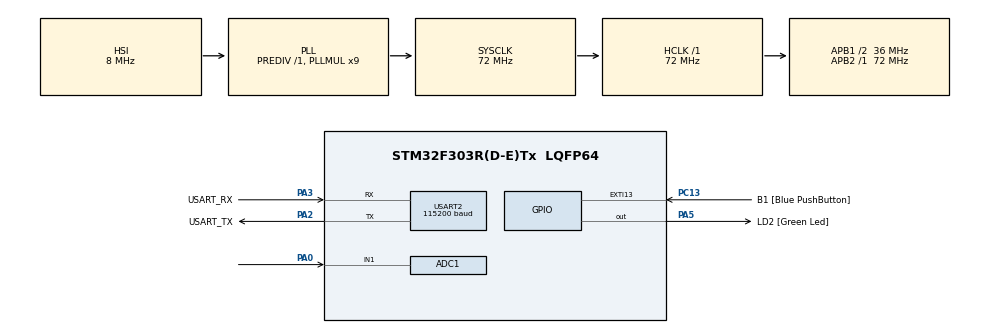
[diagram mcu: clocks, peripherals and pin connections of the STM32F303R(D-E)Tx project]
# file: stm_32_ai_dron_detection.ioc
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ADC1.Channel-0\#ChannelRegularConversion=ADC_CHANNEL_1
ADC1.ExternalTrigConv=ADC_EXTERNALTRIGCONV_T3_TRGO
ADC1.NbrOfConversionFlag=1
ADC1.Offset-0\#ChannelRegularConversion=0
ADC1.OffsetNumber-0\#ChannelRegularConversion=ADC_OFFSET_NONE
ADC1.Rank-0\#ChannelRegularConversion=1
ADC1.SamplingTime-0\#ChannelRegularConversion=ADC_SAMPLETIME_1CYCLE_5
ADC1.master=1
Dma.ADC1.0.Direction=DMA_PERIPH_TO_MEMORY
Dma.ADC1.0.Instance=DMA1_Channel1
Dma.ADC1.0.MemDataAlignment=DMA_MDATAALIGN_HALFWORD
Dma.ADC1.0.MemInc=DMA_MINC_ENABLE
Dma.ADC1.0.Mode=DMA_CIRCULAR
Dma.ADC1.0.PeriphDataAlignment=DMA_PDATAALIGN_HALFWORD
Dma.ADC1.0.PeriphInc=DMA_PINC_DISABLE
Dma.ADC1.0.Priority=DMA_PRIORITY_LOW
Dma.Request0=ADC1
Mcu.Family=STM32F3
Mcu.Name=STM32F303R(D-E)Tx
Mcu.Package=LQFP64
NVIC.DMA1_Channel1_IRQn=true\:0\:0\:false\:false\:true\:false\:true\:true
NVIC.PriorityGroup=NVIC_PRIORITYGROUP_0
PA0.Mode=IN1-Single-Ended
PA0.Signal=ADC1_IN1
PA13.GPIO_Label=TMS
PA13.Mode=Serial_Wire
PA13.Signal=SYS_JTMS-SWDIO
PA14.GPIO_Label=TCK
PA14.Mode=Serial_Wire
PA14.Signal=SYS_JTCK-SWCLK
PA2.GPIO_Label=USART_TX
PA2.GPIO_Mode=GPIO_MODE_AF_PP
PA2.GPIO_PuPd=GPIO_NOPULL
PA2.GPIO_Speed=GPIO_SPEED_FREQ_LOW
PA2.Mode=Asynchronous
PA2.Signal=USART2_TX
PA3.GPIO_Label=USART_RX
PA3.GPIO_Mode=GPIO_MODE_AF_PP
PA3.GPIO_PuPd=GPIO_NOPULL
PA3.GPIO_Speed=GPIO_SPEED_FREQ_LOW
PA3.Mode=Asynchronous
PA3.Signal=USART2_RX
PA5.GPIO_Label=LD2 [Green Led]
PA5.GPIO_Mode=GPIO_MODE_OUTPUT_PP
PA5.GPIO_PuPd=GPIO_NOPULL
PA5.GPIO_Speed=GPIO_SPEED_FREQ_LOW
PA5.Signal=GPIO_Output
PB3.GPIO_Label=SWO
PB3.Signal=SYS_JTDO-TRACESWO
PC13.GPIO_Label=B1 [Blue PushButton]
PC13.GPIO_ModeDefaultEXTI=GPIO_MODE_IT_FALLING
PC13.Signal=GPXTI13
PC14-OSC32_IN.Mode=LSE-External-Oscillator
PC14-OSC32_IN.Signal=RCC_OSC32_IN
PC15-OSC32_OUT.Mode=LSE-External-Oscillator
PC15-OSC32_OUT.Signal=RCC_OSC32_OUT
PF0-OSC_IN.Mode=HSE-External-Clock-Source
PF0-OSC_IN.Signal=RCC_OSC_IN
PF1-OSC_OUT.Signal=RCC_OSC_OUT
ProjectManager.HeapSize=0x200
ProjectManager.StackSize=0x400
ProjectManager.TargetToolchain=STM32CubeIDE
RCC.AHBFreq_Value=72000000
RCC.APB1CLKDivider=RCC_HCLK_DIV2
RCC.APB1Freq_Value=36000000
RCC.APB1TimFreq_Value=72000000
RCC.APB2Freq_Value=72000000
RCC.APB2TimFreq_Value=72000000
RCC.CortexFreq_Value=72000000
RCC.HCLKFreq_Value=72000000
RCC.HSE_VALUE=8000000
RCC.HSI_VALUE=8000000
RCC.PLLM=8
RCC.PLLMUL=RCC_PLL_MUL9
RCC.PLLN=336
RCC.PLLP=RCC_PLLP_DIV4
RCC.PLLQ=7
RCC.RCC_PLLsource_Clock_Source_FROM_HSE=RCC_HSE_PREDIV_DIV2
RCC.SYSCLKFreq_VALUE=72000000
RCC.SYSCLKSourceVirtual=RCC_SYSCLKSOURCE_PLLCLK
RCC.USBFreq_Value=72000000
STMicroelectronics.X-CUBE-AI.10.2.0.ActivationBufferSizeList=6288
STMicroelectronics.X-CUBE-AI.10.2.0.ActivationBuffers=pool0
STMicroelectronics.X-CUBE-AI.10.2.0.ActivationNames=pool0
STMicroelectronics.X-CUBE-AI.10.2.0.ActivationSizes=AI_NETWORK_DATA_ACTIVATION_1_SIZE
STMicroelectronics.X-CUBE-AI.10.2.0.HeapSize=0x800
STMicroelectronics.X-CUBE-AI.10.2.0.InternalRamActivationBufferMaxSize=AI_NETWORK_DATA_ACTIVATIONS_SIZE
STMicroelectronics.X-CUBE-AI.10.2.0.LatestDirectoryUsed-6998e9b6aa718b2fcefcf2644fe55e75875d5affbed6b4b990e00c1ef273cccd=C\:\\Users\\szymo\\Desktop\\Projekty\\drone_detection_ai_stm32\\model_output
STMicroelectronics.X-CUBE-AI.10.2.0.MaximumNumberOfInputLayer=1
STMicroelectronics.X-CUBE-AI.10.2.0.MaximumNumberOfOutputLayer=1
STMicroelectronics.X-CUBE-AI.10.2.0.MaximumSizeOfInputLayer=1
STMicroelectronics.X-CUBE-AI.10.2.0.MaximumSizeOfOutputLayer=1
STMicroelectronics.X-CUBE-AI.10.2.0.ModelActualCompression-6998e9b6aa718b2fcefcf2644fe55e75875d5affbed6b4b990e00c1ef273cccd=0.0
STMicroelectronics.X-CUBE-AI.10.2.0.ModelCompression-6998e9b6aa718b2fcefcf2644fe55e75875d5affbed6b4b990e00c1ef273cccd=None
STMicroelectronics.X-CUBE-AI.10.2.0.ModelFlashOccupation-6998e9b6aa718b2fcefcf2644fe55e75875d5affbed6b4b990e00c1ef273cccd=28629
STMicroelectronics.X-CUBE-AI.10.2.0.ModelHashList=6998e9b6aa718b2fcefcf2644fe55e75875d5affbed6b4b990e00c1ef273cccd
STMicroelectronics.X-CUBE-AI.10.2.0.ModelKind-6998e9b6aa718b2fcefcf2644fe55e75875d5affbed6b4b990e00c1ef273cccd=TFLITE
STMicroelectronics.X-CUBE-AI.10.2.0.ModelMacc-6998e9b6aa718b2fcefcf2644fe55e75875d5affbed6b4b990e00c1ef273cccd=62458
STMicroelectronics.X-CUBE-AI.10.2.0.ModelName-6998e9b6aa718b2fcefcf2644fe55e75875d5affbed6b4b990e00c1ef273cccd=network
STMicroelectronics.X-CUBE-AI.10.2.0.ModelNameList=network
STMicroelectronics.X-CUBE-AI.10.2.0.ModelRamOccupation-6998e9b6aa718b2fcefcf2644fe55e75875d5affbed6b4b990e00c1ef273cccd=6288
STMicroelectronics.X-CUBE-AI.10.2.0.ModelStructureFile-6998e9b6aa718b2fcefcf2644fe55e75875d5affbed6b4b990e00c1ef273cccd=C\:\\Users\\szymo\\Desktop\\Projekty\\drone_detection_ai_stm32\\model_output\\drone_model.tflite
STMicroelectronics.X-CUBE-AI.10.2.0.ModelType-6998e9b6aa718b2fcefcf2644fe55e75875d5affbed6b4b990e00c1ef273cccd=STM32Cube.AI MCU runtime
STMicroelectronics.X-CUBE-AI.10.2.0.ReadyForCodeGeneration=true
STMicroelectronics.X-CUBE-AI.10.2.0.StackSize=0x800
STMicroelectronics.X-CUBE-AI.10.2.0.WorkingBufferStartAddrList=0xFFFFFFFF
STMicroelectronics.X-CUBE-AI.10.2.0.XAaCUBEAaAICcArtificialOoIntelligenceJjCore=true
STMicroelectronics.X-CUBE-AI.10.2.0.copyWeightToRam=false
STMicroelectronics.X-CUBE-AI.10.2.0.customLayerConfigEnabled=false
STMicroelectronics.X-CUBE-AI.10.2.0.noOnnxIoTranspose=false
STMicroelectronics.X-CUBE-AI.10.2.0.useInputAllocation=true
STMicroelectronics.X-CUBE-AI.10.2.0.useOutputAllocation=true
TIM3.Period=4499
TIM3.TIM_MasterOutputTrigger=TIM_TRGO_UPDATE
USART2.BaudRate=115200
USART2.VirtualMode-Asynchronous=VM_ASYNC
VP_STMicroelectronics.X-CUBE-AI_VS_ArtificialOoIntelligenceJjXAaCUBEAaAI_10.2.0.Mode=ArtificialOoIntelligenceJjXAaCUBEAaAI
VP_TIM3_VS_ClockSourceINT.Mode=Internal
board=NUCLEO-F303RE

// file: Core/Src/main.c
/**
 * @file    main.c
 * @author  Szymon Warmiak
 * @brief   Drone detection using audio AI on STM32F303RE
 *          ADC1/DMA circular -> FFT -> Mel spectrogram -> X-CUBE-AI inference
 */

#include "main.h"
#include "adc.h"
#include "dma.h"
#include "tim.h"
#include "usart.h"
#include "gpio.h"

/* USER CODE BEGIN Includes */
#include "network.h"
#include "network_data.h"
#include "ai_platform.h"
#include <stdio.h>
#include <string.h>
#include <math.h>
/* USER CODE END Includes */

void SystemClock_Config(void);

/* USER CODE BEGIN PD */
#define FRAME_SIZE      1024
#define NUM_FRAMES      16
#define N_MELS          20
#define ADC_BUF_SIZE    (FRAME_SIZE * 2)
#define DETECTION_THR   0.5f
#define MFE_NORM_MEAN   (-3.4048095f)
#define MFE_NORM_STD    (3.0600388f)
#define MEL_FMIN        80.0f
#define MEL_FMAX        8000.0f
#define SAMPLE_RATE_F   16000.0f
/* USER CODE END PD */

/* USER CODE BEGIN PV */
static uint16_t  adc_buf[ADC_BUF_SIZE];
static float     fft_re[FRAME_SIZE];
static float     fft_im[FRAME_SIZE];
static float     mel_buf[NUM_FRAMES * N_MELS];

static volatile uint8_t  half_cplt = 0;
static volatile uint8_t  full_cplt = 0;
static          uint8_t  frame_idx = 0;

/* Precomputed tables – filled once in precompute_all() */
static float twiddle_cos[FRAME_SIZE / 2];
static float twiddle_sin[FRAME_SIZE / 2];
static float hann_win[FRAME_SIZE];       /* separate Hann window table */
static int   mel_lo[N_MELS];
static int   mel_ctr[N_MELS];
static int   mel_hi[N_MELS];

/* X-CUBE-AI handles */
static ai_handle          net_handle = AI_HANDLE_NULL;
static ai_u8              net_activations[AI_NETWORK_DATA_ACTIVATIONS_SIZE];
static const ai_handle    net_activations_map[] = { (ai_handle)net_activations };
static ai_i8              net_in_buf[AI_NETWORK_IN_1_SIZE];
static ai_i8              net_out_buf[AI_NETWORK_OUT_1_SIZE];
/* USER CODE END PV */

/* USER CODE BEGIN PFP */
static void precompute_all(void);
static void compute_mel_frame(const uint16_t *raw, int offset);
static float run_inference(void);
/* USER CODE END PFP */

/* USER CODE BEGIN 0 */
int __io_putchar(int ch)
{
    HAL_UART_Transmit(&huart2, (uint8_t*)&ch, 1, HAL_MAX_DELAY);
    return ch;
}

static void precompute_all(void)
{
    /* FFT twiddle factors */
    for (int i = 0; i < FRAME_SIZE / 2; i++) {
        twiddle_cos[i] = cosf(-2.0f * 3.14159265f * i / FRAME_SIZE);
        twiddle_sin[i] = sinf(-2.0f * 3.14159265f * i / FRAME_SIZE);
    }

    /* Hann window (periodic, matches librosa default) */
    for (int i = 0; i < FRAME_SIZE; i++) {
        hann_win[i] = 0.5f * (1.0f - cosf(2.0f * 3.14159265f * i / FRAME_SIZE));
    }

    /* Mel filter bank – triangle boundaries as integer bin indices */
    float fmin_mel = 2595.0f * log10f(1.0f + MEL_FMIN / 700.0f);
    float fmax_mel = 2595.0f * log10f(1.0f + MEL_FMAX / 700.0f);

    float hz[N_MELS + 2];
    for (int i = 0; i <= N_MELS + 1; i++) {
        float mel = fmin_mel + (float)i * (fmax_mel - fmin_mel) / (N_MELS + 1);
        hz[i] = 700.0f * (powf(10.0f, mel / 2595.0f) - 1.0f);
    }
    for (int m = 0; m < N_MELS; m++) {
        mel_lo[m]  = (int)(hz[m]   * FRAME_SIZE / SAMPLE_RATE_F);
        mel_ctr[m] = (int)(hz[m+1] * FRAME_SIZE / SAMPLE_RATE_F);
        mel_hi[m]  = (int)(hz[m+2] * FRAME_SIZE / SAMPLE_RATE_F);
        if (mel_hi[m] >= FRAME_SIZE / 2) mel_hi[m] = FRAME_SIZE / 2 - 1;
    }

    printf("Tables ready. Mel bins 0-1: [%d-%d-%d], [%d-%d-%d]\r\n",
           mel_lo[0], mel_ctr[0], mel_hi[0],
           mel_lo[1], mel_ctr[1], mel_hi[1]);
}

static void compute_mel_frame(const uint16_t *raw, int offset)
{
    /* Remove DC bias, calculate min/max and apply Hann window */
    float dc = 0.0f;
    uint16_t adc_min = raw[offset], adc_max = raw[offset];
    for (int i = 0; i < FRAME_SIZE; i++) {
        uint16_t val = raw[offset + i];
        dc += (float)val;
        if (val < adc_min) adc_min = val;
        if (val > adc_max) adc_max = val;
    }
    dc /= FRAME_SIZE;

    /* Print raw ADC stats once per inference cycle (approx. 1 sec) to avoid UART spam */
    if (frame_idx == 0) {
        printf("[ADC] min=%u max=%u avg=%u pp=%u\r\n",
               (unsigned int)adc_min, (unsigned int)adc_max,
               (unsigned int)dc, (unsigned int)(adc_max - adc_min));
    }

    for (int i = 0; i < FRAME_SIZE; i++) {
        fft_re[i] = (((float)raw[offset + i] - dc) / 2048.0f) * hann_win[i];
        fft_im[i] = 0.0f;
    }

    /* In-place radix-2 DIT FFT using precomputed twiddle table */
    /* Bit-reversal permutation */
    for (int i = 1, j = 0; i < FRAME_SIZE; i++) {
        int bit = FRAME_SIZE >> 1;
        for (; j & bit; bit >>= 1) j ^= bit;
        j ^= bit;
        if (i < j) {
            float tr = fft_re[i]; fft_re[i] = fft_re[j]; fft_re[j] = tr;
            float ti = fft_im[i]; fft_im[i] = fft_im[j]; fft_im[j] = ti;
        }
    }
    /* Butterfly stages */
    for (int s = 1; s < FRAME_SIZE; s <<= 1) {
        int half_s = s;
        int step   = FRAME_SIZE / (2 * s);
        for (int k = 0; k < FRAME_SIZE; k += 2 * half_s) {
            for (int j = 0; j < half_s; j++) {
                float wr = twiddle_cos[j * step];
                float wi = twiddle_sin[j * step];
                float tr = wr * fft_re[k+j+half_s] - wi * fft_im[k+j+half_s];
                float ti = wr * fft_im[k+j+half_s] + wi * fft_re[k+j+half_s];
                fft_re[k+j+half_s] = fft_re[k+j] - tr;
                fft_im[k+j+half_s] = fft_im[k+j] - ti;
                fft_re[k+j] += tr;
                fft_im[k+j] += ti;
            }
        }
    }

    /* Mel filter bank – no powf here, just integer bin loops */
    int row = frame_idx * N_MELS;
    for (int m = 0; m < N_MELS; m++) {
        float energy = 0.0f;
        int lo = mel_lo[m], ctr = mel_ctr[m], hi = mel_hi[m];
        if (ctr <= lo) ctr = lo + 1;
        if (hi  <= ctr) hi  = ctr + 1;
        for (int b = lo; b < ctr; b++) {
            float w   = (float)(b - lo) / (float)(ctr - lo);
            float mag = fft_re[b]*fft_re[b] + fft_im[b]*fft_im[b];
            energy   += w * mag;
        }
        for (int b = ctr; b <= hi; b++) {
            float w   = (float)(hi - b) / (float)(hi - ctr);
            float mag = fft_re[b]*fft_re[b] + fft_im[b]*fft_im[b];
            energy   += w * mag;
        }
        mel_buf[row + m] = (log10f(energy + 1e-10f) - MFE_NORM_MEAN) / MFE_NORM_STD;
    }

    frame_idx++;
}

static float run_inference(void)
{
    ai_buffer input_buf  = AI_BUFFER_INIT(AI_FLAG_NONE, AI_BUFFER_FORMAT_S8,
                                          AI_BUFFER_SHAPE_INIT(AI_SHAPE_BCWH, 4, 1, 1, 20, 16),
                                          AI_NETWORK_IN_1_SIZE, NULL, net_in_buf);
    ai_buffer output_buf = AI_BUFFER_INIT(AI_FLAG_NONE, AI_BUFFER_FORMAT_S8,
                                          AI_BUFFER_SHAPE_INIT(AI_SHAPE_BCWH, 4, 1, 1, 1, 1),
                                          AI_NETWORK_OUT_1_SIZE, NULL, net_out_buf);

    ai_buffer *inputs  = ai_network_inputs_get(net_handle, NULL);
    ai_buffer *outputs = ai_network_outputs_get(net_handle, NULL);

    float   in_scale  = 1.0f;
    int32_t in_zp     = 0;
    float   out_scale = 1.0f;
    int32_t out_zp    = 0;

    if (inputs && inputs->meta_info && inputs->meta_info->intq_info) {
        in_scale = inputs->meta_info->intq_info->info[0].scale[0];
        in_zp    = *((const int8_t*)inputs->meta_info->intq_info->info[0].zeropoint);
    }
    if (outputs && outputs->meta_info && outputs->meta_info->intq_info) {
        out_scale = outputs->meta_info->intq_info->info[0].scale[0];
        out_zp    = *((const int8_t*)outputs->meta_info->intq_info->info[0].zeropoint);
    }

    /* Debug: print mel stats (use int/frac trick for nano.specs which lacks %f) */
    float mel_min = mel_buf[0], mel_max = mel_buf[0], mel_sum = 0.0f;
    for (int i = 0; i < AI_NETWORK_IN_1_SIZE; i++) {
        if (mel_buf[i] < mel_min) mel_min = mel_buf[i];
        if (mel_buf[i] > mel_max) mel_max = mel_buf[i];
        mel_sum += mel_buf[i];
    }
    float mel_avg = mel_sum / AI_NETWORK_IN_1_SIZE;
    /* Print float as X.YY (sign + integer + 2 decimals) */
    #define PFLT(v) (int)(v), (int)(((v) - (int)(v)) * 100 + 0.5f)
    printf("[MEL] min=%d.%02d max=%d.%02d avg=%d.%02d sc=%d.%04d\r\n",
           (int)mel_min,    (int)((mel_min    - (int)mel_min)    * 100 + 0.5f),
           (int)mel_max,    (int)((mel_max    - (int)mel_max)    * 100 + 0.5f),
           (int)mel_avg,    (int)((mel_avg    - (int)mel_avg)    * 100 + 0.5f),
           (int)in_scale,   (int)((in_scale   - (int)in_scale)   * 10000 + 0.5f));

    for (int i = 0; i < AI_NETWORK_IN_1_SIZE; i++) {
        float q = mel_buf[i] / in_scale + (float)in_zp;
        if      (q >  127.0f) q =  127.0f;
        else if (q < -128.0f) q = -128.0f;
        net_in_buf[i] = (ai_i8)(int8_t)q;
    }

    ai_i32 n_batch = ai_network_run(net_handle, &input_buf, &output_buf);
    if (n_batch != 1) return 0.0f;

    /* Model output = P(background). Invert to get P(drone). */
    float conf = ((float)net_out_buf[0] - (float)out_zp) * out_scale;
    conf = 1.0f - conf;   /* invert: high = drone */
    if (conf < 0.0f) conf = 0.0f;
    if (conf > 1.0f) conf = 1.0f;
    return conf;
}

void HAL_ADC_ConvHalfCpltCallback(ADC_HandleTypeDef *hadc)
{
    (void)hadc;
    half_cplt = 1;
}

void HAL_ADC_ConvCpltCallback(ADC_HandleTypeDef *hadc)
{
    (void)hadc;
    full_cplt = 1;
}
/* USER CODE END 0 */

int main(void)
{
    HAL_Init();
    SystemClock_Config();
    MX_GPIO_Init();
    MX_DMA_Init();
    MX_ADC1_Init();
    MX_TIM3_Init();
    MX_USART2_UART_Init();

    /* USER CODE BEGIN 2 */
    printf("Drone Detector starting...\r\n");
    precompute_all();
    ai_network_create_and_init(&net_handle, net_activations_map, NULL);
    printf("AI ready.\r\n");

    HAL_ADC_Start_DMA(&hadc1, (uint32_t*)adc_buf, ADC_BUF_SIZE);
    HAL_TIM_Base_Start(&htim3);
    /* USER CODE END 2 */

    while (1)
    {
        /* USER CODE BEGIN 3 */
        if (half_cplt) {
            half_cplt = 0;
            if (frame_idx < NUM_FRAMES)
                compute_mel_frame(adc_buf, 0);
        }
        if (full_cplt) {
            full_cplt = 0;
            if (frame_idx < NUM_FRAMES)
                compute_mel_frame(adc_buf, FRAME_SIZE);

            if (frame_idx >= NUM_FRAMES) {
                frame_idx = 0;
                float conf = run_inference();
                if (conf >= DETECTION_THR) {
                    HAL_GPIO_WritePin(GPIOA, GPIO_PIN_5, GPIO_PIN_SET);
                    printf("DRON WYKRYTY! %d%%\r\n", (int)(conf * 100));
                } else {
                    HAL_GPIO_WritePin(GPIOA, GPIO_PIN_5, GPIO_PIN_RESET);
                    printf("Brak drona.  %d%%\r\n", (int)(conf * 100));
                }
            }
        }
        /* USER CODE END 3 */
    }
}

void SystemClock_Config(void)
{
    RCC_OscInitTypeDef RCC_OscInitStruct = {0};
    RCC_ClkInitTypeDef RCC_ClkInitStruct = {0};
    RCC_PeriphCLKInitTypeDef PeriphClkInit = {0};

    RCC_OscInitStruct.OscillatorType      = RCC_OSCILLATORTYPE_HSI;
    RCC_OscInitStruct.HSIState            = RCC_HSI_ON;
    RCC_OscInitStruct.HSICalibrationValue = RCC_HSICALIBRATION_DEFAULT;
    RCC_OscInitStruct.PLL.PLLState        = RCC_PLL_ON;
    RCC_OscInitStruct.PLL.PLLSource       = RCC_PLLSOURCE_HSI;
    RCC_OscInitStruct.PLL.PLLMUL          = RCC_PLL_MUL9;
    RCC_OscInitStruct.PLL.PREDIV          = RCC_PREDIV_DIV1;
    if (HAL_RCC_OscConfig(&RCC_OscInitStruct) != HAL_OK) Error_Handler();

    RCC_ClkInitStruct.ClockType      = RCC_CLOCKTYPE_HCLK|RCC_CLOCKTYPE_SYSCLK
                                     |RCC_CLOCKTYPE_PCLK1|RCC_CLOCKTYPE_PCLK2;
    RCC_ClkInitStruct.SYSCLKSource   = RCC_SYSCLKSOURCE_PLLCLK;
    RCC_ClkInitStruct.AHBCLKDivider  = RCC_SYSCLK_DIV1;
    RCC_ClkInitStruct.APB1CLKDivider = RCC_HCLK_DIV2;
    RCC_ClkInitStruct.APB2CLKDivider = RCC_HCLK_DIV1;
    if (HAL_RCC_ClockConfig(&RCC_ClkInitStruct, FLASH_LATENCY_2) != HAL_OK) Error_Handler();

    PeriphClkInit.PeriphClockSelection  = RCC_PERIPHCLK_USART2|RCC_PERIPHCLK_ADC12
                                        |RCC_PERIPHCLK_TIM34;
    PeriphClkInit.Usart2ClockSelection  = RCC_USART2CLKSOURCE_PCLK1;
    PeriphClkInit.Adc12ClockSelection   = RCC_ADC12PLLCLK_DIV1;
    PeriphClkInit.Tim34ClockSelection   = RCC_TIM34CLK_HCLK;
    if (HAL_RCCEx_PeriphCLKConfig(&PeriphClkInit) != HAL_OK) Error_Handler();
}

void Error_Handler(void)
{
    __disable_irq();
    while (1) {}
}
